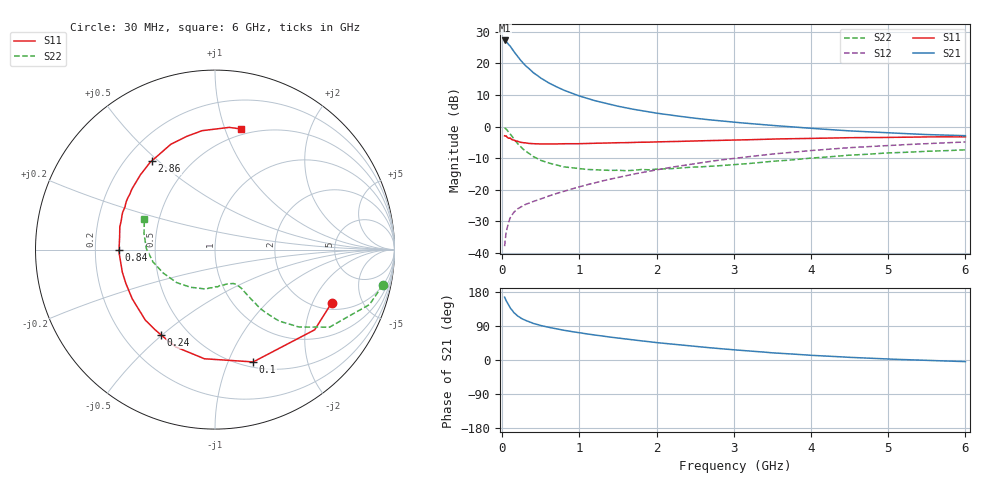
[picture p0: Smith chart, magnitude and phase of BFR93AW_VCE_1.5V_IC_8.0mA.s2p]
! Infineon Technologies  Discrete & RF Semiconductors
! BFR93AW
! VCE =  1.5 V,  IC =  8.0 mA
! Common Emitter S-Parameters:  Nov 2015
# GHz  S  MA  R  50
!  f  S11  S21  S12  S22
! GHz  MAG  ANG  MAG  ANG  MAG  ANG  MAG  ANG
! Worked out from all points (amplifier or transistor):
!   206 points, 30 MHz to 6 GHz, reference 50 ohm
!   highest |S21| = 27.3 dB at 30 MHz (marker M1)
!   |S21| within 3 dB of that: start of sweep to 135.1 MHz
!   unconditionally stable (mu >= 1): 780.1 MHz to 2.56 GHz
!   at 200 MHz: K = 0.43, MSG = 24.1 dB, |S12| = -26.1 dB
!   at 1.56 GHz: K = 1.09, MAG = 9.2 dB, |S12| = -15.8 dB
!   at 6 GHz: K = 0.96, MSG = 1.0 dB, |S12| = -4.9 dB
!   S11 on the Smith chart (normalised r, x): 30 MHz: 2.33, -2.82; 100 MHz: 0.56, -1.24; 240 MHz: 0.36, -0.50; 840 MHz: 0.30, -0.00; 2.86 GHz: 0.30, +0.48; 6 GHz: 0.45, +1.14
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0.03  0.7146 -24.5  23.18 165.8  0.0127 75.1  0.9557 -11.9
0.05  0.7128 -38.8  22.47 156.3  0.021 71.9  0.9135 -19.6
0.1  0.661 -71.2  19 137.9  0.0354 59.8  0.7708 -34.1
0.15  0.6111 -95.5  15.45 124.9  0.0438 52.9  0.6356 -42.7
0.2  0.5848 -112.0  12.82 116.0  0.0498 49.0  0.5363 -48.0
0.24  0.5627 -122.3  11.17 110.8  0.0531 47.8  0.4755 -50.2
0.26  0.5573 -126.9  10.47 108.4  0.0548 47.5  0.4501 -51.2
0.3  0.5522 -134.7  9.275 104.3  0.0582 47.4  0.4092 -52.6
0.4  0.5366 -149.2  7.18 96.6  0.0648 49.3  0.3357 -54.0
0.5  0.5311 -159.2  5.862 90.7  0.0712 50.5  0.291 -55.0
0.6  0.5315 -166.2  4.936 86.2  0.0791 52.4  0.2644 -55.5
0.7  0.5304 -172.5  4.282 82.1  0.0866 54.8  0.2463 -56.7
0.84  0.5341 -179.7  3.606 77.1  0.0976 56.9  0.2268 -59.1
1.04  0.5365 172.1  2.947 70.6  0.1146 58.9  0.2124 -63.0
1.2  0.5453 166.5  2.573 65.9  0.1281 60.0  0.2067 -67.1
1.48  0.5539 158.5  2.127 58.4  0.1541 61.0  0.2028 -75.6
2.02  0.5729 143.9  1.619 45.5  0.2079 60.0  0.2121 -92.9
2.86  0.6069 125.4  1.219 29.3  0.2984 54.7  0.2418 -118.7
3.1  0.6143 120.5  1.145 25.4  0.3232 52.6  0.2542 -126.2
4.1  0.6526 102.4  0.92 11.4  0.4255 41.9  0.3223 -158.4
5.1  0.6744 88.2  0.786 1.8  0.5088 30.2  0.3856 176.7
6  0.6873 77.7  0.717 -4.3  0.5697 20.3  0.4279 156.8
